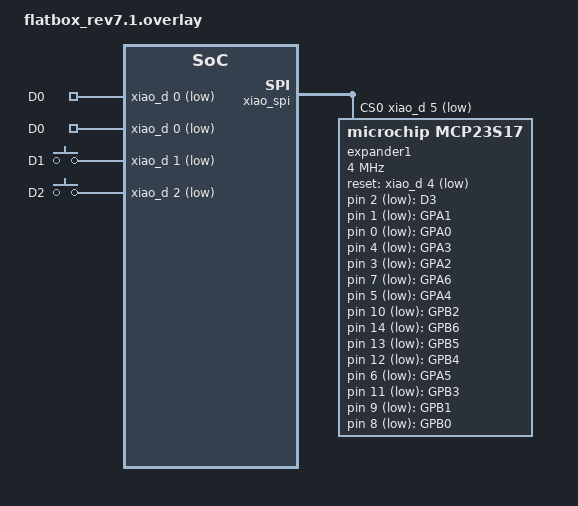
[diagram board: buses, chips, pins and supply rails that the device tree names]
/ {
    gamepad-buttons {
        compatible = "gpio-keys";
        /* same as start */
        system { gpios = <&xiao_d 0 (GPIO_PULL_UP | GPIO_ACTIVE_LOW)>; label = "D0"; };
        start { gpios = <&xiao_d 0 (GPIO_PULL_UP | GPIO_ACTIVE_LOW)>; label = "D0"; };
        select { gpios = <&xiao_d 1 (GPIO_PULL_UP | GPIO_ACTIVE_LOW)>; label = "D1"; };
        home { gpios = <&xiao_d 2 (GPIO_PULL_UP | GPIO_ACTIVE_LOW)>; label = "D2"; };
        button14 { gpios = <&expander1 2 (GPIO_PULL_UP | GPIO_ACTIVE_LOW)>; label = "D3"; };
        l3 { gpios = <&expander1 1 (GPIO_PULL_UP | GPIO_ACTIVE_LOW)>; label = "GPA1"; };
        r3 { gpios = <&expander1 0 (GPIO_PULL_UP | GPIO_ACTIVE_LOW)>; label = "GPA0"; };
        dpad-left { gpios = <&expander1 4 (GPIO_PULL_UP | GPIO_ACTIVE_LOW)>; label = "GPA3"; };
        dpad-down { gpios = <&expander1 3 (GPIO_PULL_UP | GPIO_ACTIVE_LOW)>; label = "GPA2"; };
        dpad-right { gpios = <&expander1 7 (GPIO_PULL_UP | GPIO_ACTIVE_LOW)>; label = "GPA6"; };
        dpad-up { gpios = <&expander1 5 (GPIO_PULL_UP | GPIO_ACTIVE_LOW)>; label = "GPA4"; };
        west { gpios = <&expander1 10 (GPIO_PULL_UP | GPIO_ACTIVE_LOW)>; label = "GPB2"; };
        north { gpios = <&expander1 14 (GPIO_PULL_UP | GPIO_ACTIVE_LOW)>; label = "GPB6"; };
        r1 { gpios = <&expander1 13 (GPIO_PULL_UP | GPIO_ACTIVE_LOW)>; label = "GPB5"; };
        l1 { gpios = <&expander1 12 (GPIO_PULL_UP | GPIO_ACTIVE_LOW)>; label = "GPB4"; };
        south { gpios = <&expander1 6 (GPIO_PULL_UP | GPIO_ACTIVE_LOW)>; label = "GPA5"; };
        east { gpios = <&expander1 11 (GPIO_PULL_UP | GPIO_ACTIVE_LOW)>; label = "GPB3"; };
        r2 { gpios = <&expander1 9 (GPIO_PULL_UP | GPIO_ACTIVE_LOW)>; label = "GPB1"; };
        l2 { gpios = <&expander1 8 (GPIO_PULL_UP | GPIO_ACTIVE_LOW)>; label = "GPB0"; };
    };
};

&xiao_spi {
    cs-gpios = <&xiao_d 5 GPIO_ACTIVE_LOW>;
    expander1: mcp23s17@0 {
        compatible = "microchip,mcp23s17";
        reg = <0>;
        spi-max-frequency = <4000000>;
        gpio-controller;
        #gpio-cells = <2>;
        ngpios = <16>;
        reset-gpios = <&xiao_d 4 GPIO_ACTIVE_LOW>;
    };
};
